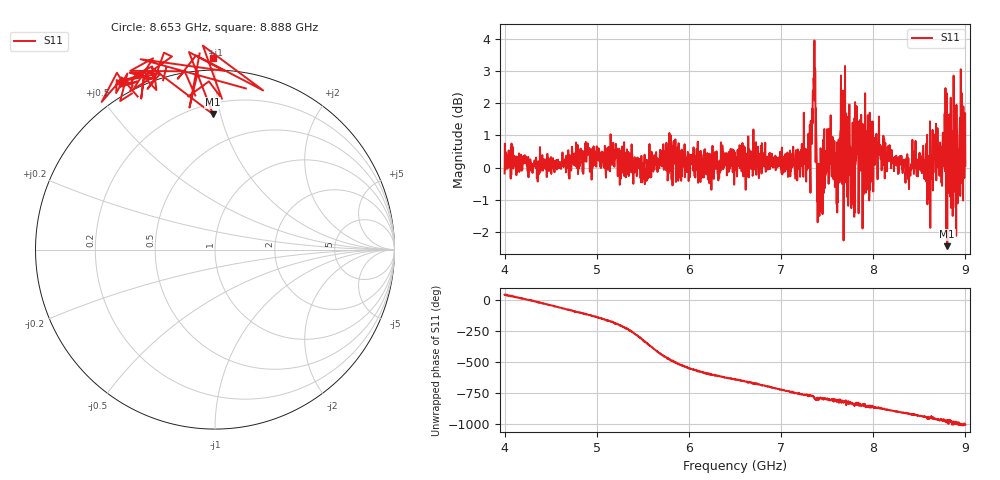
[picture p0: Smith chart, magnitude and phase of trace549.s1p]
! Created with skrf 1.8.0 (http://scikit-rf.org).
# Hz S RI R 50.0
!freq ReS11 ImS11
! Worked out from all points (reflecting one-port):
!   1601 points, 4 GHz to 9 GHz, reference 50 ohm
!   lowest |S11| = -2.4 dB at 8.803 GHz (marker M1), VSWR 7.15, Z = 13.5 + j47.4 ohm
!   phase of S11 starts at 42 deg and turns -1049 deg over the sweep
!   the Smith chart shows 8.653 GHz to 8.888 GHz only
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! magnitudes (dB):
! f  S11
! 4 GHz  -0.2
! 4.625 GHz  0.1
! 4.897 GHz  0.4
! 5.25 GHz  -0.5
! 5.875 GHz  -0.2
! 6.5 GHz  0.4
! 7.125 GHz  0.4
! 7.294 GHz  0.1
! 7.347 GHz  2.4
! 7.369 GHz  3.1
! 7.4 GHz  0.0
! 7.412 GHz  -1.0
! 7.519 GHz  0.3
! 7.591 GHz  0.4
! 7.65 GHz  2.9
! 7.75 GHz  0.6
! 7.775 GHz  1.4
! 7.828 GHz  1.5
! 7.909 GHz  0.9
! 8.088 GHz  0.6
! 8.375 GHz  -0.1
! 8.559 GHz  0.2
! 8.612 GHz  -1.0
! 8.675 GHz  -0.2
! 8.803 GHz  -2.4
! 8.875 GHz  0.0
! 8.972 GHz  0.8
! 9 GHz  0.1
